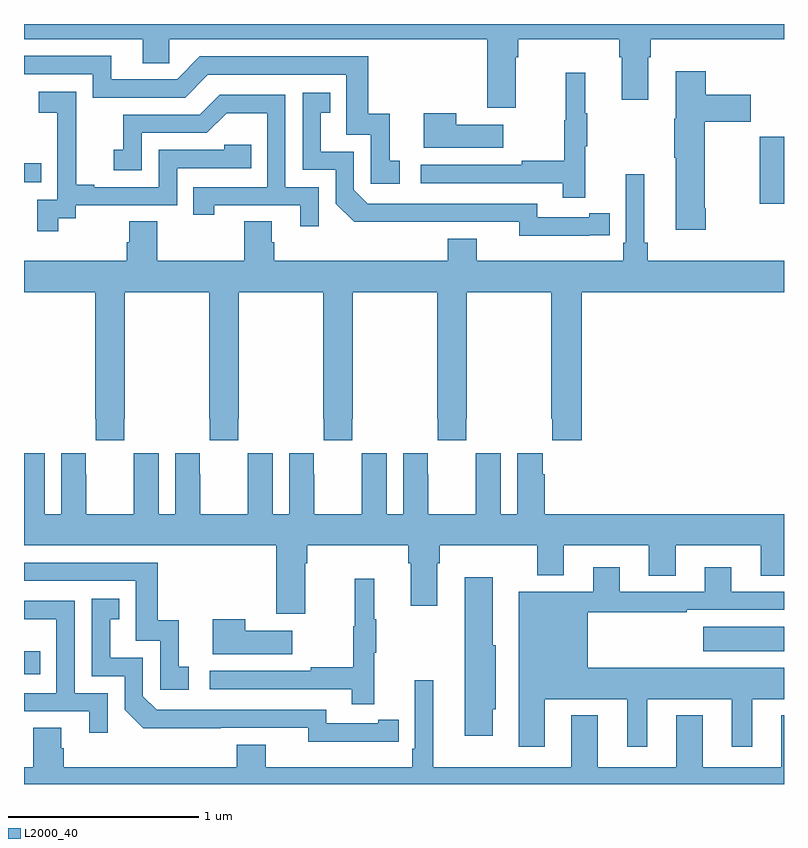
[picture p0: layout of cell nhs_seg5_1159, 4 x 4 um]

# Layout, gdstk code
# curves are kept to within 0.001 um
import gdstk
lib = gdstk.Library(unit=1e-6, precision=1e-09)
def R(c, l, rs):  # rectangles x0, y0, x1, y1
    for r in rs: c.add(gdstk.rectangle(r[:2], r[2:], *l))
def P(c, l, *ps):  # polygons
    for p in ps: c.add(gdstk.Polygon(p, *l))
L2000_40 = (2000, 40)

nhs_seg5_1159 = lib.new_cell('nhs_seg5_1159')
R(nhs_seg5_1159, L2000_40, [(181,893.376,181.085,893.499), (184.575,893.498,185,893.626), (184.873,895.853,185,896.206), (181,895.965,181.091,896.066)])
P(nhs_seg5_1159, L2000_40, [(183.589,896.624),(183.602,896.624),(183.602,896.72),(184.133,896.72),(184.133,896.624),(184.145,896.624),(184.145,896.4),(184.285,896.4),(184.285,896.624),(184.298,896.624),(184.298,896.72),(185,896.72),(185,896.799),(181,896.799),(181,896.72),(181.625,896.72),(181.625,896.593),(181.764,896.593),(181.764,896.72),(183.437,896.72),(183.437,896.358),(183.589,896.358)],
  [(182.977,896.079),(182.924,896.079),(182.924,896.326),(182.813,896.326),(182.813,896.628),(181.926,896.628),(181.806,896.508),(181.459,896.508),(181.459,896.631),(181,896.631),(181,896.535),(181.362,896.535),(181.362,896.412),(181.848,896.412),(181.968,896.532),(182.697,896.532),(182.697,896.217),(182.826,896.217),(182.826,895.959),(182.977,895.959)],
  [(184.589,895.828),(184.584,895.828),(184.584,896.285),(184.825,896.285),(184.825,896.427),(184.589,896.427),(184.589,896.551),(184.43,896.551),(184.43,896.301),(184.423,896.301),(184.423,896.095),(184.43,896.095),(184.43,895.716),(184.589,895.716)],
  [(183.953,896.155),(183.964,896.155),(183.964,896.329),(183.953,896.329),(183.953,896.542),(183.85,896.542),(183.85,896.292),(183.843,896.292),(183.843,896.078),(183.619,896.078),(183.619,896.058),(183.087,896.058),(183.087,895.962),(183.835,895.962),(183.835,895.884),(183.953,895.884)],
  [(181.18,895.777),(181.272,895.777),(181.272,895.845),(181.806,895.845),(181.806,896.04),(182.195,896.04),(182.195,896.163),(182.055,896.163),(182.055,896.136),(181.71,896.136),(181.71,895.941),(181.369,895.941),(181.369,895.954),(181.274,895.954),(181.274,896.237),(181.275,896.237),(181.275,896.443),(181.077,896.443),(181.077,896.333),(181.175,896.333),(181.175,896.105),(181.176,896.105),(181.176,895.875),(181.071,895.875),(181.071,895.707),(181.18,895.707)],
  [(183.974,895.686),(184.082,895.686),(184.082,895.802),(183.974,895.802),(183.974,895.782),(183.702,895.782),(183.702,895.854),(182.808,895.854),(182.736,895.926),(182.736,896.127),(182.563,896.127),(182.563,896.331),(182.612,896.331),(182.612,896.437),(182.466,896.437),(182.466,896.031),(182.64,896.031),(182.64,895.854),(182.738,895.757),(183.606,895.758),(183.606,895.685)],
  [(182.55,895.941),(182.376,895.941),(182.376,896.427),(182.03,896.427),(181.925,896.322),(181.522,896.322),(181.522,896.137),(181.473,896.137),(181.473,896.028),(181.62,896.028),(181.62,896.226),(181.962,896.226),(182.066,896.33),(182.28,896.33),(182.28,895.941),(181.891,895.941),(181.891,895.794),(182.002,895.794),(182.002,895.845),(182.453,895.845),(182.453,895.734),(182.55,895.734)],
  [(183.523,896.269),(183.275,896.269),(183.275,896.329),(183.104,896.329),(183.104,896.147),(183.523,896.147)],
  [(181.527,894.721),(181.53,894.721),(181.53,895.388),(181.975,895.388),(181.975,894.721),(181.977,894.721),(181.977,894.609),(182.127,894.609),(182.127,894.721),(182.13,894.721),(182.13,895.388),(182.575,895.388),(182.575,894.721),(182.577,894.721),(182.577,894.609),(182.727,894.609),(182.727,894.721),(182.73,894.721),(182.73,895.388),(183.175,895.388),(183.175,894.721),(183.177,894.721),(183.177,894.609),(183.327,894.609),(183.327,894.721),(183.33,894.721),(183.33,895.388),(183.775,895.388),(183.775,894.721),(183.781,894.721),(183.781,894.609),(183.935,894.609),(183.935,895.388),(185,895.388),(185,895.552),(184.283,895.552),(184.283,895.648),(184.264,895.648),(184.264,896.008),(184.167,896.008),(184.167,895.648),(184.154,895.648),(184.154,895.552),(183.382,895.552),(183.382,895.669),(183.23,895.669),(183.23,895.552),(182.318,895.552),(182.318,895.65),(182.305,895.65),(182.305,895.76),(182.158,895.76),(182.158,895.552),(181.701,895.552),(181.701,895.76),(181.553,895.76),(181.553,895.65),(181.541,895.65),(181.541,895.552),(181,895.552),(181,895.388),(181.375,895.388),(181.375,894.721),(181.377,894.721),(181.377,894.609),(181.527,894.609)],
  [(182.479,893.96),(182.492,893.96),(182.492,894.056),(183.023,894.056),(183.023,893.96),(183.035,893.96),(183.035,893.736),(183.175,893.736),(183.175,893.96),(183.188,893.96),(183.188,894.056),(183.701,894.056),(183.701,893.897),(183.841,893.897),(183.841,894.056),(184.289,894.056),(184.289,893.896),(184.429,893.896),(184.429,894.056),(184.877,894.056),(184.877,893.896),(185,893.896),(185,894.22),(183.74,894.22),(183.74,894.428),(183.73,894.428),(183.73,894.541),(183.596,894.541),(183.596,894.22),(183.508,894.22),(183.508,894.541),(183.378,894.541),(183.378,894.428),(183.377,894.428),(183.377,894.22),(183.127,894.22),(183.127,894.428),(183.126,894.428),(183.126,894.541),(182.996,894.541),(182.996,894.22),(182.908,894.22),(182.908,894.541),(182.778,894.541),(182.778,894.428),(182.777,894.428),(182.777,894.22),(182.527,894.22),(182.527,894.428),(182.526,894.428),(182.526,894.541),(182.396,894.541),(182.396,894.22),(182.308,894.22),(182.308,894.541),(182.178,894.541),(182.178,894.428),(182.177,894.428),(182.177,894.22),(181.927,894.22),(181.927,894.428),(181.926,894.428),(181.926,894.541),(181.796,894.541),(181.796,894.22),(181.708,894.22),(181.708,894.541),(181.578,894.541),(181.578,894.428),(181.577,894.428),(181.577,894.22),(181.327,894.22),(181.327,894.428),(181.326,894.428),(181.326,894.541),(181.196,894.541),(181.196,894.22),(181.108,894.22),(181.108,894.541),(181,894.541),(181,894.056),(182.327,894.056),(182.327,893.694),(182.479,893.694)],
  [(181.867,893.415),(181.814,893.415),(181.814,893.662),(181.703,893.662),(181.703,893.964),(181,893.964),(181,893.868),(181.587,893.868),(181.587,893.553),(181.716,893.553),(181.716,893.295),(181.867,893.295)],
  [(183.742,893.246),(184.175,893.246),(184.175,892.995),(184.279,892.995),(184.279,893.246),(184.724,893.246),(184.724,892.995),(184.834,892.995),(184.834,893.246),(185,893.246),(185,893.41),(183.967,893.41),(183.967,893.703),(184.487,893.703),(184.487,893.715),(185,893.715),(185,893.811),(184.723,893.811),(184.723,893.941),(184.583,893.941),(184.583,893.811),(184.135,893.811),(184.135,893.941),(183.995,893.941),(183.995,893.812),(183.605,893.812),(183.605,892.995),(183.742,892.995)],
  [(183.466,893.193),(183.484,893.193),(183.484,893.529),(183.466,893.529),(183.466,893.887),(183.32,893.887),(183.32,893.052),(183.466,893.052)],
  [(182.843,893.491),(182.854,893.491),(182.854,893.665),(182.843,893.665),(182.843,893.878),(182.74,893.878),(182.74,893.628),(182.733,893.628),(182.733,893.414),(182.509,893.414),(182.509,893.394),(181.977,893.394),(181.977,893.298),(182.725,893.298),(182.725,893.22),(182.843,893.22)],
  [(182.864,893.022),(182.972,893.022),(182.972,893.138),(182.864,893.138),(182.864,893.118),(182.592,893.118),(182.592,893.19),(181.698,893.19),(181.626,893.262),(181.626,893.463),(181.453,893.463),(181.453,893.667),(181.502,893.667),(181.502,893.773),(181.356,893.773),(181.356,893.367),(181.53,893.367),(181.53,893.19),(181.628,893.093),(182.496,893.094),(182.496,893.021)],
  [(181.44,893.277),(181.266,893.277),(181.266,893.763),(181,893.763),(181,893.666),(181.17,893.666),(181.17,893.277),(181,893.277),(181,893.181),(181.343,893.181),(181.343,893.07),(181.44,893.07)],
  [(182.413,893.605),(182.165,893.605),(182.165,893.665),(181.994,893.665),(181.994,893.483),(182.413,893.483)],
  [(185,893.161),(184.985,893.161),(184.985,892.888),(184.573,892.888),(184.573,893.161),(184.433,893.161),(184.433,892.888),(184.021,892.888),(184.021,893.161),(183.881,893.161),(183.881,892.888),(183.154,892.888),(183.154,893.344),(183.057,893.344),(183.057,892.984),(183.044,892.984),(183.044,892.888),(182.272,892.888),(182.272,893.005),(182.12,893.005),(182.12,892.888),(181.208,892.888),(181.208,892.986),(181.195,892.986),(181.195,893.096),(181.048,893.096),(181.048,892.888),(181,892.888),(181,892.799),(185,892.799)])

lib.write_gds('nhs_seg5_1159.gds')
